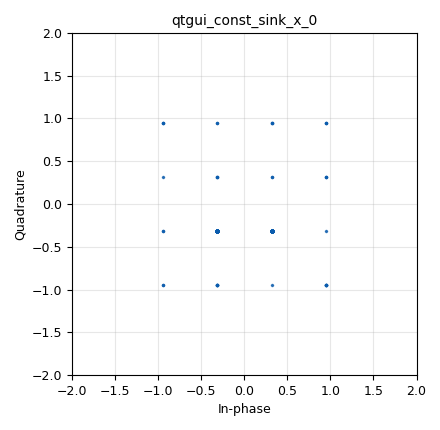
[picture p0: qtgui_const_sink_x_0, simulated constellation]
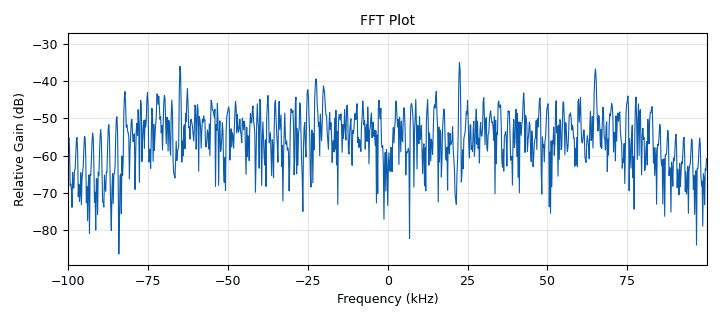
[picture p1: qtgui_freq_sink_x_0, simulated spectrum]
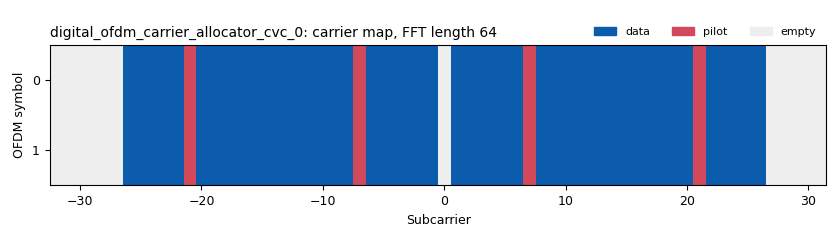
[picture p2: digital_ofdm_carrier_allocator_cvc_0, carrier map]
options:
  parameters:
    category: Custom
    description: Example of an OFDM Transmitter
    generate_options: qt_gui
    id: tx_ofdm
    output_language: python
    run_options: run
    title: OFDM Tx
  states: {}

blocks:
- name: fft_len
  id: variable
  parameters:
    value: '64'
  states: {}
- name: header_formatter
  id: variable
  parameters:
    value: digital.packet_header_ofdm(occupied_carriers, n_syms=1, len_tag_key=length_tag_key, frame_len_tag_key=length_tag_key, bits_per_header_sym=header_mod.bits_per_symbol(), bits_per_payload_sym=payload_mod.bits_per_symbol(), scramble_header=False)
  states: {}
- name: header_mod
  id: variable
  parameters:
    value: digital.constellation_bpsk()
  states: {}
- name: length_tag_key
  id: variable
  parameters:
    value: '"packet_len"'
  states: {}
- name: occupied_carriers
  id: variable
  parameters:
    value: (list(range(-26, -21)) + list(range(-20, -7)) + list(range(-6, 0)) + list(range(1, 7)) + list(range(8, 21)) + list(range(22, 27)),)
  states: {}
- name: packet_len
  id: variable
  parameters:
    value: '96'
  states: {}
- name: payload_mod
  id: variable
  parameters:
    value: digital.constellation_16qam()
  states: {}
- name: pilot_carriers
  id: variable
  parameters:
    value: ((-21, -7, 7, 21,),)
  states: {}
- name: pilot_symbols
  id: variable
  parameters:
    value: ((1, 1, 1, -1,),)
  states: {}
- name: rolloff
  id: variable
  parameters:
    value: '0'
  states: {}
- name: samp_rate
  id: variable
  parameters:
    value: '200000'
  states: {}
- name: sync_word1
  id: variable
  parameters:
    value: '[0., 0., 0., 0., 0., 0., 0., 1.41421356, 0., -1.41421356, 0., 1.41421356, 0., -1.41421356, 0., -1.41421356, 0., -1.41421356, 0., 1.41421356, 0., -1.41421356, 0., 1.41421356, 0., -1.41421356, 0., -1.41421356, 0., -1.41421356, 0., -1.41421356, 0., 1.41421356, 0., -1.41421356, 0., 1.41421356, 0., 1.41421356, 0., 1.41421356, 0., -1.41421356, 0., 1.41421356, 0., 1.41421356, 0., 1.41421356, 0., -1.41421356, 0., 1.41421356, 0., 1.41421356, 0., 1.41421356, 0., 0., 0., 0., 0., 0.]'
  states: {}
- name: sync_word2
  id: variable
  parameters:
    value: '[0, 0, 0, 0, 0, 0, -1, -1, -1, -1, 1, 1, -1, -1, -1, 1, -1, 1, 1, 1, 1, 1, -1, -1, -1, -1, -1, 1, -1, -1, 1, -1, 0, 1, -1, 1, 1, 1, -1, 1, 1, 1, -1, 1, 1, 1, 1, -1, 1, -1, -1, -1, 1, -1, 1, -1, -1, -1, -1, 0, 0, 0, 0, 0] '
  states: {}
- name: blocks_multiply_const_vxx_0
  id: blocks_multiply_const_vxx
  parameters:
    const: '0.05'
    type: complex
  states: {}
- name: blocks_repack_bits_bb_0
  id: blocks_repack_bits_bb
  parameters:
    endianness: gr.GR_LSB_FIRST
    k: '8'
    l: payload_mod.bits_per_symbol()
    len_tag_key: length_tag_key
  states: {}
- name: blocks_stream_to_tagged_stream_0
  id: blocks_stream_to_tagged_stream
  parameters:
    len_tag_key: length_tag_key
    packet_len: packet_len
    type: byte
  states: {}
- name: blocks_tag_gate_0
  id: blocks_tag_gate
  parameters:
    propagate_tags: 'False'
    type: complex
  states: {}
- name: blocks_tagged_stream_mux_0
  id: blocks_tagged_stream_mux
  parameters:
    lengthtagname: length_tag_key
    ninputs: '2'
    type: complex
  states: {}
- name: digital_chunks_to_symbols_xx_0
  id: digital_chunks_to_symbols_xx
  parameters:
    dimension: '1'
    in_type: byte
    out_type: complex
    symbol_table: header_mod.points()
  states: {}
- name: digital_chunks_to_symbols_xx_0_0
  id: digital_chunks_to_symbols_xx
  parameters:
    dimension: '1'
    in_type: byte
    out_type: complex
    symbol_table: payload_mod.points()
  states: {}
- name: digital_crc32_bb_0
  id: digital_crc32_bb
  parameters:
    check: 'False'
    lengthtagname: length_tag_key
    packed: 'True'
  states: {}
- name: digital_glfsr_source_x_0
  id: digital_glfsr_source_x
  parameters:
    degree: '10'
    mask: '0'
    repeat: 'True'
    seed: '1'
    type: byte
  states: {}
- name: digital_ofdm_carrier_allocator_cvc_0
  id: digital_ofdm_carrier_allocator_cvc
  parameters:
    fft_len: fft_len
    len_tag_key: length_tag_key
    occupied_carriers: occupied_carriers
    output_is_shifted: 'True'
    pilot_carriers: pilot_carriers
    pilot_symbols: pilot_symbols
    sync_words: (sync_word1, sync_word2)
  states: {}
- name: digital_ofdm_cyclic_prefixer_0
  id: digital_ofdm_cyclic_prefixer
  parameters:
    cp_len: fft_len//4
    input_size: fft_len
    rolloff: rolloff
    tagname: length_tag_key
  states: {}
- name: digital_packet_headergenerator_bb_0
  id: digital_packet_headergenerator_bb
  parameters:
    header_formatter: header_formatter.base()
    len_tag_key: length_tag_key
  states: {}
- name: fft_vxx_0
  id: fft_vxx
  parameters:
    fft_size: fft_len
    forward: 'False'
    shift: 'True'
    type: complex
    window: ()
  states: {}
- name: header_bits
  id: virtual_sink
  parameters:
    stream_id: Header Bits
  states: {}
- name: iio_pluto_sink_0
  id: iio_pluto_sink
  parameters:
    attenuation1: '0'
    bandwidth: samp_rate
    buffer_size: '32768'
    cyclic: 'False'
    filter_source: '''Auto'''
    frequency: '2500000000'
    samplerate: samp_rate
    type: fc32
  states: {}
- name: qtgui_const_sink_x_0
  id: qtgui_const_sink_x
  parameters:
    size: '1024'
    type: complex
  states: {}
- name: qtgui_freq_sink_x_0
  id: qtgui_freq_sink_x
  parameters:
    autoscale: 'True'
    bw: samp_rate
    fc: '0'
    fftsize: '1024'
    name: FFT Plot
    showports: 'True'
    type: complex
  states: {}
- name: virtual_sink_0
  id: virtual_sink
  parameters:
    stream_id: Time Domain
  states: {}
- name: virtual_sink_0_0
  id: virtual_sink
  parameters:
    stream_id: Payload Bits
  states: {}
- name: virtual_sink_0_0_0
  id: virtual_sink
  parameters:
    stream_id: Pre-OFDM
  states: {}
- name: virtual_source_0
  id: virtual_source
  parameters:
    stream_id: Header Bits
  states: {}
- name: virtual_source_0_0
  id: virtual_source
  parameters:
    stream_id: Payload Bits
  states: {}
- name: virtual_source_0_0_0
  id: virtual_source
  parameters:
    stream_id: Pre-OFDM
  states: {}
- name: virtual_source_0_0_0_0
  id: virtual_source
  parameters:
    stream_id: Time Domain
  states: {}

connections:
- [blocks_multiply_const_vxx_0, '0', blocks_tag_gate_0, '0']
- [blocks_repack_bits_bb_0, '0', virtual_sink_0_0, '0']
- [blocks_stream_to_tagged_stream_0, '0', digital_crc32_bb_0, '0']
- [blocks_tag_gate_0, '0', iio_pluto_sink_0, '0']
- [blocks_tag_gate_0, '0', qtgui_freq_sink_x_0, '0']
- [blocks_tagged_stream_mux_0, '0', virtual_sink_0_0_0, '0']
- [digital_chunks_to_symbols_xx_0, '0', blocks_tagged_stream_mux_0, '0']
- [digital_chunks_to_symbols_xx_0_0, '0', blocks_tagged_stream_mux_0, '1']
- [digital_chunks_to_symbols_xx_0_0, '0', qtgui_const_sink_x_0, '0']
- [digital_crc32_bb_0, '0', blocks_repack_bits_bb_0, '0']
- [digital_crc32_bb_0, '0', digital_packet_headergenerator_bb_0, '0']
- [digital_glfsr_source_x_0, '0', blocks_stream_to_tagged_stream_0, '0']
- [digital_ofdm_carrier_allocator_cvc_0, '0', fft_vxx_0, '0']
- [digital_ofdm_cyclic_prefixer_0, '0', virtual_sink_0, '0']
- [digital_packet_headergenerator_bb_0, '0', header_bits, '0']
- [fft_vxx_0, '0', digital_ofdm_cyclic_prefixer_0, '0']
- [virtual_source_0, '0', digital_chunks_to_symbols_xx_0, '0']
- [virtual_source_0_0, '0', digital_chunks_to_symbols_xx_0_0, '0']
- [virtual_source_0_0_0, '0', digital_ofdm_carrier_allocator_cvc_0, '0']
- [virtual_source_0_0_0_0, '0', blocks_multiply_const_vxx_0, '0']

metadata:
  file_format: 1
  grc_version: 3.10.12.0
